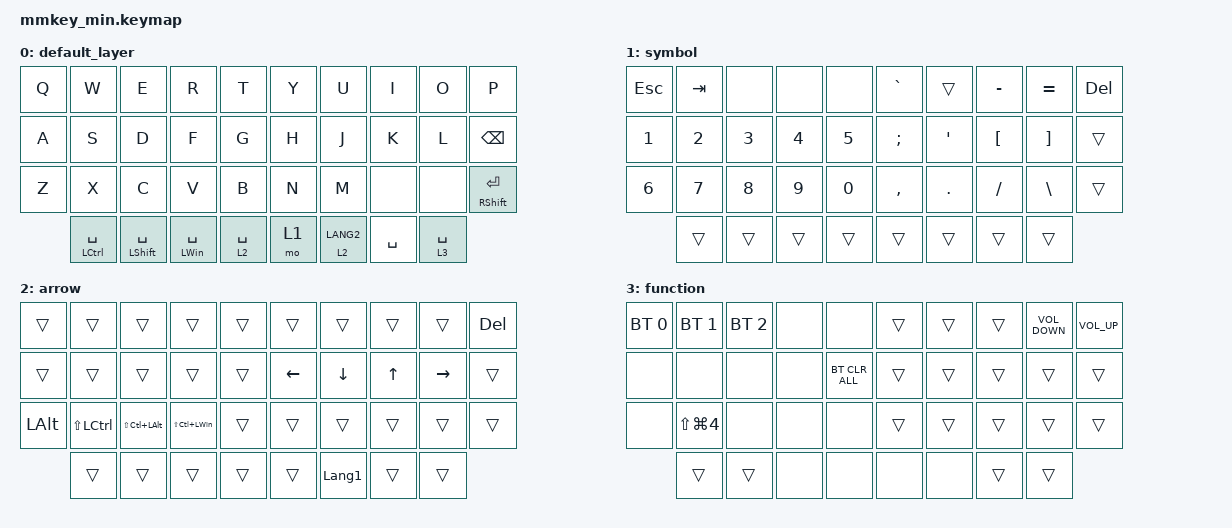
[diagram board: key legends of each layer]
#include <input/processors.dtsi>
#include <dt-bindings/zmk/input_transform.h>
#include <zephyr/dt-bindings/input/input-event-codes.h>
#include <behaviors.dtsi>
#include <dt-bindings/zmk/bt.h>
#include <dt-bindings/zmk/keys.h>

//#define ZMK_POINTING_DEFAULT_SCRL_VAL 100

#define MOUSE 5

&mt {
    flavor = "balanced";
    quick-tap-ms = <0>;
};

/ {
    combos {
        compatible = "zmk,combos";

        boot_left {
            bindings = <&bootloader>;
            key-positions = <0 33>;
        };

        boot_right {
            bindings = <&bootloader>;
            key-positions = <47 9 34>;
        };
    };

    macros {
        to_layer_0: to_layer_0 {
            compatible = "zmk,behavior-macro-one-param";
            #binding-cells = <1>;
            bindings = <&macro_param_1to1 &kp MACRO_PLACEHOLDER &to 0>;
            label = "TO_LAYER_0";
        };
    };

    behaviors {
        lt_to_layer_0: lt_to_layer_0 {
            compatible = "zmk,behavior-hold-tap";
            label = "LAYER_TAP_TO_0";
            bindings = <&mo>, <&to_layer_0>;

            #binding-cells = <2>;
            tapping-term-ms = <200>;
        };
    };

    keymap {
        compatible = "zmk,keymap";

        default_layer {
            bindings = <
&kp Q  &kp W            &kp E             &kp R           &kp T          &kp Y  &kp U        &kp I      &kp O        &kp P
&kp A  &kp S            &kp D             &kp F           &kp G          &kp H  &kp J        &kp K      &kp L        &kp BACKSPACE
&kp Z  &kp X            &kp C             &kp V           &kp B          &kp N  &kp M        &none      &none        &mt RSHIFT ENTER
       &mt LCTRL SPACE  &mt LSHIFT SPACE  &mt LWIN SPACE  &lt 2 SPACE    &mo 1  &lt 2 LANG2  &kp SPACE  &lt 3 SPACE
            >;
        };

        symbol {
            bindings = <
&kp ESCAPE    &kp TAB       &none         &none         &none     &kp GRAVE      &trans      &kp MINUS         &kp EQUAL          &kp DELETE
&kp NUMBER_1  &kp NUMBER_2  &kp NUMBER_3  &kp NUMBER_4  &kp N5    &kp SEMICOLON  &kp SQT     &kp LEFT_BRACKET  &kp RIGHT_BRACKET  &trans
&kp NUMBER_6  &kp N7        &kp N8        &kp N9        &kp N0    &kp COMMA      &kp PERIOD  &kp SLASH         &kp BACKSLASH      &trans
              &trans        &trans        &trans        &trans    &trans         &trans      &trans            &trans
            >;
        };

        arrow {
            bindings = <
&trans    &trans         &trans            &trans            &trans    &trans          &trans          &trans        &trans           &kp DELETE
&trans    &trans         &trans            &trans            &trans    &kp LEFT_ARROW  &kp DOWN        &kp UP_ARROW  &kp RIGHT_ARROW  &trans
&kp LALT  &kp LS(LCTRL)  &kp LS(LC(LALT))  &kp LS(LC(LWIN))  &trans    &trans          &trans          &trans        &trans           &trans
          &trans         &trans            &trans            &trans    &trans          &kp LANGUAGE_1  &trans        &trans
            >;
        };

        function {
            bindings = <
&bt BT_SEL 0  &bt BT_SEL 1          &bt BT_SEL 2  &none  &none             &trans  &trans  &trans  &kp C_VOLUME_DOWN  &kp C_VOL_UP
&none         &none                 &none         &none  &bt BT_CLR_ALL    &trans  &trans  &trans  &trans             &trans
&none         &kp LS(LG(NUMBER_4))  &none         &none  &none             &trans  &trans  &trans  &trans             &trans
              &trans                &trans        &none  &none             &none   &none   &trans  &trans
            >;
        };
    };

    conditional_layers {
        compatible = "zmk,conditional-layers";

        function {
            if-layers = <1 2>;
            then-layer = <3>;
        };
    };
};
